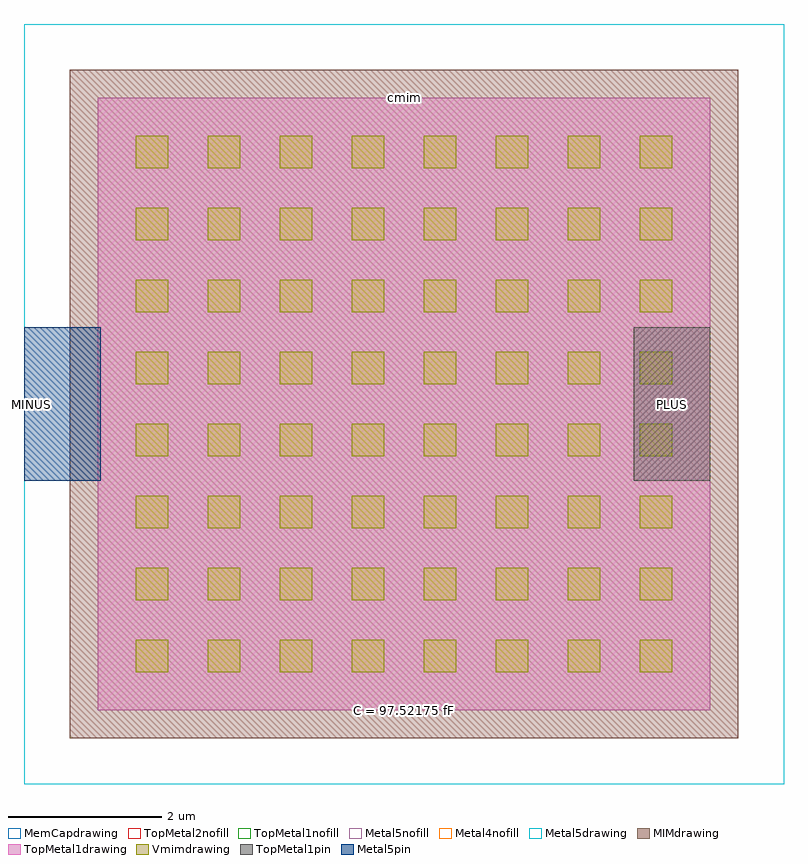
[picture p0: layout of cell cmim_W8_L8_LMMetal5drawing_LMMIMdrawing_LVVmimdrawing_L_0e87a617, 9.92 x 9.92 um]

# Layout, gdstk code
import gdstk
lib = gdstk.Library(unit=1e-6, precision=1e-09)
def R(c, l, rs):  # rectangles x0, y0, x1, y1
    for r in rs: c.add(gdstk.rectangle(r[:2], r[2:], *l))
def P(c, l, *ps):  # polygons
    for p in ps: c.add(gdstk.Polygon(p, *l))
MIMdrawing = (36, 0)
Metal4nofill = (50, 23)
Metal5drawing = (67, 0)
Metal5pin = (67, 2)
Metal5nofill = (67, 23)
MemCapdrawing = (69, 0)
TopMetal1drawing = (126, 0)
TopMetal1pin = (126, 2)
TopMetal1nofill = (126, 23)
Vmimdrawing = (129, 0)
TopMetal2nofill = (134, 23)

rectangle_gdsfactorypcom = lib.new_cell('rectangle_gdsfactorypcomponentspshapesprectangle_S1_2_L_21edbbcb')
R(rectangle_gdsfactorypcom, TopMetal1pin, [(-0.5,-1,0.5,1)])

c_rectangle_gdsfactorypcom = lib.new_cell('rectangle_gdsfactorypcomponentspshapesprectangle_S1_2_L_313130ad')
R(c_rectangle_gdsfactorypcom, Metal5pin, [(-0.5,-1,0.5,1)])

c_rectangle_gdsfactorypcom_ = lib.new_cell('rectangle_gdsfactorypcomponentspshapesprectangle_S0p42__b20b6c6c')
R(c_rectangle_gdsfactorypcom_, Vmimdrawing, [(0,0,0.42,0.42)])

via_array_vtvmim_c8_r8_v = lib.new_cell('via_array_VTVmim_C8_R8_VS0p42_VS0p94_VE0p42_LCContdrawi_5bf92d45')
via_array_vtvmim_c8_r8_v.add(gdstk.Reference(c_rectangle_gdsfactorypcom_, (0,0)))
via_array_vtvmim_c8_r8_v.add(gdstk.Reference(c_rectangle_gdsfactorypcom_, (0.94,0)))
via_array_vtvmim_c8_r8_v.add(gdstk.Reference(c_rectangle_gdsfactorypcom_, (1.88,0)))
via_array_vtvmim_c8_r8_v.add(gdstk.Reference(c_rectangle_gdsfactorypcom_, (2.82,0)))
via_array_vtvmim_c8_r8_v.add(gdstk.Reference(c_rectangle_gdsfactorypcom_, (3.76,0)))
via_array_vtvmim_c8_r8_v.add(gdstk.Reference(c_rectangle_gdsfactorypcom_, (4.7,0)))
via_array_vtvmim_c8_r8_v.add(gdstk.Reference(c_rectangle_gdsfactorypcom_, (5.64,0)))
via_array_vtvmim_c8_r8_v.add(gdstk.Reference(c_rectangle_gdsfactorypcom_, (6.58,0)))
via_array_vtvmim_c8_r8_v.add(gdstk.Reference(c_rectangle_gdsfactorypcom_, (0,0.94)))
via_array_vtvmim_c8_r8_v.add(gdstk.Reference(c_rectangle_gdsfactorypcom_, (0.94,0.94)))
via_array_vtvmim_c8_r8_v.add(gdstk.Reference(c_rectangle_gdsfactorypcom_, (1.88,0.94)))
via_array_vtvmim_c8_r8_v.add(gdstk.Reference(c_rectangle_gdsfactorypcom_, (2.82,0.94)))
via_array_vtvmim_c8_r8_v.add(gdstk.Reference(c_rectangle_gdsfactorypcom_, (3.76,0.94)))
via_array_vtvmim_c8_r8_v.add(gdstk.Reference(c_rectangle_gdsfactorypcom_, (4.7,0.94)))
via_array_vtvmim_c8_r8_v.add(gdstk.Reference(c_rectangle_gdsfactorypcom_, (5.64,0.94)))
via_array_vtvmim_c8_r8_v.add(gdstk.Reference(c_rectangle_gdsfactorypcom_, (6.58,0.94)))
via_array_vtvmim_c8_r8_v.add(gdstk.Reference(c_rectangle_gdsfactorypcom_, (0,1.88)))
via_array_vtvmim_c8_r8_v.add(gdstk.Reference(c_rectangle_gdsfactorypcom_, (0.94,1.88)))
via_array_vtvmim_c8_r8_v.add(gdstk.Reference(c_rectangle_gdsfactorypcom_, (1.88,1.88)))
via_array_vtvmim_c8_r8_v.add(gdstk.Reference(c_rectangle_gdsfactorypcom_, (2.82,1.88)))
via_array_vtvmim_c8_r8_v.add(gdstk.Reference(c_rectangle_gdsfactorypcom_, (3.76,1.88)))
via_array_vtvmim_c8_r8_v.add(gdstk.Reference(c_rectangle_gdsfactorypcom_, (4.7,1.88)))
via_array_vtvmim_c8_r8_v.add(gdstk.Reference(c_rectangle_gdsfactorypcom_, (5.64,1.88)))
via_array_vtvmim_c8_r8_v.add(gdstk.Reference(c_rectangle_gdsfactorypcom_, (6.58,1.88)))
via_array_vtvmim_c8_r8_v.add(gdstk.Reference(c_rectangle_gdsfactorypcom_, (0,2.82)))
via_array_vtvmim_c8_r8_v.add(gdstk.Reference(c_rectangle_gdsfactorypcom_, (0.94,2.82)))
via_array_vtvmim_c8_r8_v.add(gdstk.Reference(c_rectangle_gdsfactorypcom_, (1.88,2.82)))
via_array_vtvmim_c8_r8_v.add(gdstk.Reference(c_rectangle_gdsfactorypcom_, (2.82,2.82)))
via_array_vtvmim_c8_r8_v.add(gdstk.Reference(c_rectangle_gdsfactorypcom_, (3.76,2.82)))
via_array_vtvmim_c8_r8_v.add(gdstk.Reference(c_rectangle_gdsfactorypcom_, (4.7,2.82)))
via_array_vtvmim_c8_r8_v.add(gdstk.Reference(c_rectangle_gdsfactorypcom_, (5.64,2.82)))
via_array_vtvmim_c8_r8_v.add(gdstk.Reference(c_rectangle_gdsfactorypcom_, (6.58,2.82)))
via_array_vtvmim_c8_r8_v.add(gdstk.Reference(c_rectangle_gdsfactorypcom_, (0,3.76)))
via_array_vtvmim_c8_r8_v.add(gdstk.Reference(c_rectangle_gdsfactorypcom_, (0.94,3.76)))
via_array_vtvmim_c8_r8_v.add(gdstk.Reference(c_rectangle_gdsfactorypcom_, (1.88,3.76)))
via_array_vtvmim_c8_r8_v.add(gdstk.Reference(c_rectangle_gdsfactorypcom_, (2.82,3.76)))
via_array_vtvmim_c8_r8_v.add(gdstk.Reference(c_rectangle_gdsfactorypcom_, (3.76,3.76)))
via_array_vtvmim_c8_r8_v.add(gdstk.Reference(c_rectangle_gdsfactorypcom_, (4.7,3.76)))
via_array_vtvmim_c8_r8_v.add(gdstk.Reference(c_rectangle_gdsfactorypcom_, (5.64,3.76)))
via_array_vtvmim_c8_r8_v.add(gdstk.Reference(c_rectangle_gdsfactorypcom_, (6.58,3.76)))
via_array_vtvmim_c8_r8_v.add(gdstk.Reference(c_rectangle_gdsfactorypcom_, (0,4.7)))
via_array_vtvmim_c8_r8_v.add(gdstk.Reference(c_rectangle_gdsfactorypcom_, (0.94,4.7)))
via_array_vtvmim_c8_r8_v.add(gdstk.Reference(c_rectangle_gdsfactorypcom_, (1.88,4.7)))
via_array_vtvmim_c8_r8_v.add(gdstk.Reference(c_rectangle_gdsfactorypcom_, (2.82,4.7)))
via_array_vtvmim_c8_r8_v.add(gdstk.Reference(c_rectangle_gdsfactorypcom_, (3.76,4.7)))
via_array_vtvmim_c8_r8_v.add(gdstk.Reference(c_rectangle_gdsfactorypcom_, (4.7,4.7)))
via_array_vtvmim_c8_r8_v.add(gdstk.Reference(c_rectangle_gdsfactorypcom_, (5.64,4.7)))
via_array_vtvmim_c8_r8_v.add(gdstk.Reference(c_rectangle_gdsfactorypcom_, (6.58,4.7)))
via_array_vtvmim_c8_r8_v.add(gdstk.Reference(c_rectangle_gdsfactorypcom_, (0,5.64)))
via_array_vtvmim_c8_r8_v.add(gdstk.Reference(c_rectangle_gdsfactorypcom_, (0.94,5.64)))
via_array_vtvmim_c8_r8_v.add(gdstk.Reference(c_rectangle_gdsfactorypcom_, (1.88,5.64)))
via_array_vtvmim_c8_r8_v.add(gdstk.Reference(c_rectangle_gdsfactorypcom_, (2.82,5.64)))
via_array_vtvmim_c8_r8_v.add(gdstk.Reference(c_rectangle_gdsfactorypcom_, (3.76,5.64)))
via_array_vtvmim_c8_r8_v.add(gdstk.Reference(c_rectangle_gdsfactorypcom_, (4.7,5.64)))
via_array_vtvmim_c8_r8_v.add(gdstk.Reference(c_rectangle_gdsfactorypcom_, (5.64,5.64)))
via_array_vtvmim_c8_r8_v.add(gdstk.Reference(c_rectangle_gdsfactorypcom_, (6.58,5.64)))
via_array_vtvmim_c8_r8_v.add(gdstk.Reference(c_rectangle_gdsfactorypcom_, (0,6.58)))
via_array_vtvmim_c8_r8_v.add(gdstk.Reference(c_rectangle_gdsfactorypcom_, (0.94,6.58)))
via_array_vtvmim_c8_r8_v.add(gdstk.Reference(c_rectangle_gdsfactorypcom_, (1.88,6.58)))
via_array_vtvmim_c8_r8_v.add(gdstk.Reference(c_rectangle_gdsfactorypcom_, (2.82,6.58)))
via_array_vtvmim_c8_r8_v.add(gdstk.Reference(c_rectangle_gdsfactorypcom_, (3.76,6.58)))
via_array_vtvmim_c8_r8_v.add(gdstk.Reference(c_rectangle_gdsfactorypcom_, (4.7,6.58)))
via_array_vtvmim_c8_r8_v.add(gdstk.Reference(c_rectangle_gdsfactorypcom_, (5.64,6.58)))
via_array_vtvmim_c8_r8_v.add(gdstk.Reference(c_rectangle_gdsfactorypcom_, (6.58,6.58)))

c_rectangle_gdsfactorypcom__ = lib.new_cell('rectangle_gdsfactorypcomponentspshapesprectangle_S9p92__82163fc5')
R(c_rectangle_gdsfactorypcom__, MemCapdrawing, [(-4.96,-4.96,4.96,4.96)])

c_rectangle_gdsfactorypcom___ = lib.new_cell('rectangle_gdsfactorypcomponentspshapesprectangle_S9p92__ede77210')
R(c_rectangle_gdsfactorypcom___, TopMetal2nofill, [(-4.96,-4.96,4.96,4.96)])

c_rectangle_gdsfactorypcom____ = lib.new_cell('rectangle_gdsfactorypcomponentspshapesprectangle_S8_8_L_18a41bd9')
R(c_rectangle_gdsfactorypcom____, TopMetal1drawing, [(-4,-4,4,4)])

c_rectangle_gdsfactorypcom_____ = lib.new_cell('rectangle_gdsfactorypcomponentspshapesprectangle_S9p92__9fea8fe1')
R(c_rectangle_gdsfactorypcom_____, TopMetal1nofill, [(-4.96,-4.96,4.96,4.96)])

c_rectangle_gdsfactorypcom______ = lib.new_cell('rectangle_gdsfactorypcomponentspshapesprectangle_S9p92__6d103637')
R(c_rectangle_gdsfactorypcom______, Metal5nofill, [(-4.96,-4.96,4.96,4.96)])

c_rectangle_gdsfactorypcom_______ = lib.new_cell('rectangle_gdsfactorypcomponentspshapesprectangle_S8p72__fe084099')
R(c_rectangle_gdsfactorypcom_______, MIMdrawing, [(-4.36,-4.36,4.36,4.36)])

c_rectangle_gdsfactorypcom________ = lib.new_cell('rectangle_gdsfactorypcomponentspshapesprectangle_S9p92__8826644d')
R(c_rectangle_gdsfactorypcom________, Metal4nofill, [(-4.96,-4.96,4.96,4.96)])

c_rectangle_gdsfactorypcom_________ = lib.new_cell('rectangle_gdsfactorypcomponentspshapesprectangle_S9p92__fc376fed')
R(c_rectangle_gdsfactorypcom_________, Metal5drawing, [(-4.96,-4.96,4.96,4.96)])

cmim_w8_l8_lmmetal5drawi = lib.new_cell('cmim_W8_L8_LMMetal5drawing_LMMIMdrawing_LVVmimdrawing_L_0e87a617')
P(cmim_w8_l8_lmmetal5drawi, Metal5pin, [(-4.86,-0.1),(-4.96,0),(-4.885,0.075),(-4.87,0.075),(-4.946,0),(-4.87,0),(-4.87,0.075),(-4.885,0.075),(-4.86,0.1)])
P(cmim_w8_l8_lmmetal5drawi, TopMetal1pin, [(3.5,-0.5),(3.5,0),(3.55,0),(3.55,-0.375),(3.93,0),(3.5,0),(3.5,0.5),(4,0)])
cmim_w8_l8_lmmetal5drawi.add(gdstk.Reference(rectangle_gdsfactorypcom, (3.5,0)))
cmim_w8_l8_lmmetal5drawi.add(gdstk.Reference(c_rectangle_gdsfactorypcom, (-4.46,0)))
cmim_w8_l8_lmmetal5drawi.add(gdstk.Reference(via_array_vtvmim_c8_r8_v, (-3.5,-3.5)))
cmim_w8_l8_lmmetal5drawi.add(gdstk.Reference(c_rectangle_gdsfactorypcom__, (0,0)))
cmim_w8_l8_lmmetal5drawi.add(gdstk.Reference(c_rectangle_gdsfactorypcom___, (0,0)))
cmim_w8_l8_lmmetal5drawi.add(gdstk.Reference(c_rectangle_gdsfactorypcom____, (0,0)))
cmim_w8_l8_lmmetal5drawi.add(gdstk.Reference(c_rectangle_gdsfactorypcom_____, (0,0)))
cmim_w8_l8_lmmetal5drawi.add(gdstk.Reference(c_rectangle_gdsfactorypcom______, (0,0)))
cmim_w8_l8_lmmetal5drawi.add(gdstk.Reference(c_rectangle_gdsfactorypcom_______, (0,0)))
cmim_w8_l8_lmmetal5drawi.add(gdstk.Reference(c_rectangle_gdsfactorypcom________, (0,0)))
cmim_w8_l8_lmmetal5drawi.add(gdstk.Reference(c_rectangle_gdsfactorypcom_________, (0,0)))
cmim_w8_l8_lmmetal5drawi.add(gdstk.Label('MINUS', (-4.86,0), layer=67, texttype=2))
cmim_w8_l8_lmmetal5drawi.add(gdstk.Label('C = 97.52175 fF', (0,-4), layer=63, texttype=0))
cmim_w8_l8_lmmetal5drawi.add(gdstk.Label('cmim', (0,4), layer=63, texttype=0))
cmim_w8_l8_lmmetal5drawi.add(gdstk.Label('MINUS', (-4.86,0), layer=63, texttype=0))
cmim_w8_l8_lmmetal5drawi.add(gdstk.Label('PLUS', (3.5,0), layer=63, texttype=0))
cmim_w8_l8_lmmetal5drawi.add(gdstk.Label('PLUS', (3.5,0), layer=126, texttype=2))

lib.write_gds('cmim_W8_L8_LMMetal5drawing_LMMIMdrawing_LVVmimdrawing_L_0e87a617.gds')
